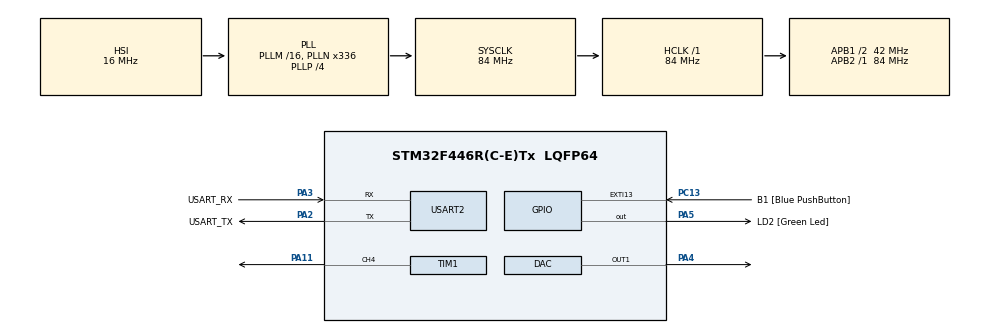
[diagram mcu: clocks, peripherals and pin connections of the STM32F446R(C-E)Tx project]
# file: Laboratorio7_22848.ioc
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DAC.DAC_Trigger=DAC_TRIGGER_T6_TRGO
Dma.DAC1.0.Direction=DMA_MEMORY_TO_PERIPH
Dma.DAC1.0.FIFOMode=DMA_FIFOMODE_DISABLE
Dma.DAC1.0.Instance=DMA1_Stream5
Dma.DAC1.0.MemDataAlignment=DMA_MDATAALIGN_HALFWORD
Dma.DAC1.0.MemInc=DMA_MINC_ENABLE
Dma.DAC1.0.Mode=DMA_CIRCULAR
Dma.DAC1.0.PeriphDataAlignment=DMA_PDATAALIGN_HALFWORD
Dma.DAC1.0.PeriphInc=DMA_PINC_DISABLE
Dma.DAC1.0.Priority=DMA_PRIORITY_LOW
Dma.Request0=DAC1
Mcu.Family=STM32F4
Mcu.Name=STM32F446R(C-E)Tx
Mcu.Package=LQFP64
NVIC.DMA1_Stream5_IRQn=true\:0\:0\:false\:false\:true\:false\:true\:true
NVIC.PriorityGroup=NVIC_PRIORITYGROUP_0
PA11.Signal=S_TIM1_CH4
PA13.GPIO_Label=TMS
PA13.Mode=Serial_Wire
PA13.Signal=SYS_JTMS-SWDIO
PA14.GPIO_Label=TCK
PA14.Mode=Serial_Wire
PA14.Signal=SYS_JTCK-SWCLK
PA2.GPIO_Label=USART_TX
PA2.Mode=Asynchronous
PA2.Signal=USART2_TX
PA3.GPIO_Label=USART_RX
PA3.Mode=Asynchronous
PA3.Signal=USART2_RX
PA4.Signal=COMP_DAC1_group
PA5.GPIO_Label=LD2 [Green Led]
PA5.Signal=GPIO_Output
PB3.GPIO_Label=SWO
PB3.Signal=SYS_JTDO-SWO
PC13.GPIO_Label=B1 [Blue PushButton]
PC13.GPIO_ModeDefaultEXTI=GPIO_MODE_IT_FALLING
PC13.Signal=GPXTI13
PC14-OSC32_IN.Mode=LSE-External-Oscillator
PC14-OSC32_IN.Signal=RCC_OSC32_IN
PC15-OSC32_OUT.Mode=LSE-External-Oscillator
PC15-OSC32_OUT.Signal=RCC_OSC32_OUT
PH0-OSC_IN.Mode=HSE-External-Oscillator
PH0-OSC_IN.Signal=RCC_OSC_IN
PH1-OSC_OUT.Mode=HSE-External-Oscillator
PH1-OSC_OUT.Signal=RCC_OSC_OUT
ProjectManager.HeapSize=0x200
ProjectManager.StackSize=0x400
ProjectManager.TargetToolchain=STM32CubeIDE
RCC.48MHZClocksFreq_Value=84000000
RCC.AHBFreq_Value=84000000
RCC.APB1CLKDivider=RCC_HCLK_DIV2
RCC.APB1Freq_Value=42000000
RCC.APB1TimFreq_Value=84000000
RCC.APB2Freq_Value=84000000
RCC.APB2TimFreq_Value=84000000
RCC.CortexFreq_Value=84000000
RCC.FLatency-AdvancedSettings=FLASH_LATENCY_2
RCC.HCLKFreq_Value=84000000
RCC.HSE_VALUE=8000000
RCC.HSI_VALUE=16000000
RCC.PLLN=336
RCC.PLLP=RCC_PLLP_DIV4
RCC.SYSCLKFreq_VALUE=84000000
RCC.SYSCLKSource=RCC_SYSCLKSOURCE_PLLCLK
RCC.USBFreq_Value=168000000
RCC.VCOOutputFreq_Value=336000000
SH.COMP_DAC1_group.0=DAC_OUT1,DAC_OUT1
SH.S_TIM1_CH4.0=TIM1_CH4,PWM Generation4 CH4
TIM1.Channel-PWM\ Generation4\ CH4=TIM_CHANNEL_4
TIM1.Period=100-1
TIM1.Pulse-PWM\ Generation4\ CH4=50
TIM6.Period=1000-1
TIM6.Prescaler=1
TIM6.TIM_MasterOutputTrigger=TIM_TRGO_UPDATE
USART2.VirtualMode=VM_ASYNC
VP_TIM1_VS_ClockSourceINT.Mode=Internal
VP_TIM6_VS_ClockSourceINT.Mode=Enable_Timer
board=NUCLEO-F446RE

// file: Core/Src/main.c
 /* USER CODE BEGIN Header */
/**
  ******************************************************************************
  * @file           : main.c
  * @brief          : Main program body
  ******************************************************************************
  * @attention
  *
  * Copyright (c) 2026 STMicroelectronics.
  * All rights reserved.
  *
  * This software is licensed under terms that can be found in the LICENSE file
  * in the root directory of this software component.
  * If no LICENSE file comes with this software, it is provided AS-IS.
  *
  ******************************************************************************
  */
/* USER CODE END Header */
#include "main.h"

/* USER CODE BEGIN Includes */
#include "pitches.h"
#include <stdio.h>
#include <string.h>
#include <math.h>
/* USER CODE END Includes */

/* USER CODE BEGIN PD */

#define SAMPLES 128
#define PI 3.1415926
#define TIM_FREQ 84000000

uint32_t Ysine[SAMPLES];
#define PWM_ARR 100

/* USER CODE END PD */

DAC_HandleTypeDef hdac;
DMA_HandleTypeDef hdma_dac1;

TIM_HandleTypeDef htim1;
TIM_HandleTypeDef htim6;

UART_HandleTypeDef huart2;

/* USER CODE BEGIN PV */
int notes[] = {
    // Compás 9
    NOTE_G4, REST, NOTE_G4, NOTE_A4, NOTE_AS4, NOTE_G4, NOTE_A4, NOTE_AS4,
    NOTE_C5, NOTE_AS4, NOTE_A4, NOTE_G4, NOTE_F4, REST,
    NOTE_G4, NOTE_F4, NOTE_E4, NOTE_F4, NOTE_D4, NOTE_F4, NOTE_G4, NOTE_A4, NOTE_AS4,

    // Compás 13
    NOTE_G4, NOTE_E4, REST, NOTE_E4, NOTE_G4, NOTE_A4, NOTE_E4,
    NOTE_G4, NOTE_A4, NOTE_AS4, NOTE_C5, NOTE_AS4, NOTE_A4,
    NOTE_G4, NOTE_F4, REST,
    NOTE_F4, NOTE_G4, NOTE_E4, NOTE_F4, NOTE_D4, NOTE_F4,
    REST,
    NOTE_F4, NOTE_G4, NOTE_A4, NOTE_AS4, NOTE_C5
};

int duration[] = {
    // Compás 9
    250,250,250,250,250,250,250,250,
    250,250,250,250,500,250,
    250,250,250,250,250,250,250,250,500,

    // Compás 13
    500,500,250,250,250,250,500,
    250,250,250,250,250,250,
    500,500,250,
    250,250,250,250,250,250,
    250,
    250,250,250,250,500
};
int notes2[] = {
    NOTE_C5, NOTE_E5, NOTE_G5, NOTE_C6,
    NOTE_G5, NOTE_E5, NOTE_C5, 0,

    NOTE_D5, NOTE_F5, NOTE_A5, NOTE_D6,
    NOTE_A5, NOTE_F5, NOTE_D5, 0,

    NOTE_E5, NOTE_G5, NOTE_B5, NOTE_E6,
    NOTE_B5, NOTE_G5, NOTE_E5, 0,

    NOTE_C6, NOTE_G5, NOTE_E5, NOTE_C5
};

int duration2[] = {
    150,150,150,300,
    150,150,300,150,

    150,150,150,300,
    150,150,300,150,

    150,150,150,300,
    150,150,300,150,

    200,200,200,400
};

/* USER CODE END PV */

void SystemClock_Config(void);
static void MX_GPIO_Init(void);
static void MX_DMA_Init(void);
static void MX_TIM1_Init(void);
static void MX_USART2_UART_Init(void);
static void MX_DAC_Init(void);
static void MX_TIM6_Init(void);
/* USER CODE BEGIN PFP */
int presForFrequency(int frequency);
void playTone(int *tone, int *duration, int *pause, int size);
void uart_print(char *msg);
char uart_read_char(void);
void show_menu(void);
void generarSin(void);
int calcularARR(int freq);
void playTones(int *tone, int *duration, int *pause, int Nsize);
/* USER CODE END PFP */

/* USER CODE BEGIN 0 */
void noTone(void) {
    __HAL_TIM_SET_COMPARE(&htim1, TIM_CHANNEL_4, 0); // silencio
}
int presForFrequency(int frequency) {
    if (frequency == 0)
        return 0;
    return ((TIM_FREQ / (PWM_ARR * frequency)) - 1);
}

void playTone(int *tone, int *duration, int *pause, int size) {
    for (int i = 0; i < size; i++) {

        int prescaler = presForFrequency(tone[i]);
        int dur = duration[i];
        int pauseBetweenTones = 0;

        if (pause != NULL)
            pauseBetweenTones = pause[i] - duration[i];

        __HAL_TIM_SET_PRESCALER(&htim1, prescaler);
        __HAL_TIM_SET_COMPARE(&htim1, TIM_CHANNEL_4, PWM_ARR / 2);
        HAL_Delay(dur);

        noTone();

        HAL_Delay(pauseBetweenTones);
    }
}

void uart_print(char *msg) {
    HAL_UART_Transmit(&huart2, (uint8_t*)msg, strlen(msg), HAL_MAX_DELAY);
}

char uart_read_char(void) {
    char c;
    HAL_UART_Receive(&huart2, (uint8_t*)&c, 1, HAL_MAX_DELAY);
    return c;
}

void show_menu(void) {
    uart_print("\r\nSeleccion de audio\r\n");
    uart_print("1. Cancion 1\r\n");
    uart_print("2. Cancion 2\r\n");
    uart_print("Seleccione opcion: ");
}
void generarSin(void) {
    for (int i = 0; i < SAMPLES; i++) {
    	Ysine[i] = (sin(2 * PI * i / SAMPLES) * 2047) + 2048;
    }
}

int calcularARR(int freq) {
    if (freq == 0) return 0;

    int Fs = freq * SAMPLES; // frecuencia de muestreo
    return (TIM_FREQ / ((htim6.Init.Prescaler + 1) * Fs)) - 1;
}
void startDAC(void) {
    HAL_DAC_Start_DMA(&hdac, DAC_CHANNEL_1, Ysine, SAMPLES, DAC_ALIGN_12B_R);
    HAL_TIM_Base_Start(&htim6);
}
void stopDAC(void) {
    HAL_DAC_Stop_DMA(&hdac, DAC_CHANNEL_1);
    HAL_TIM_Base_Stop(&htim6);
}

void playToneDAC(int *tone, int *duration, int *pause, int Nsize)
{
    for (int i = 0; i < Nsize; i++)
    {
        int freq = tone[i];
        int dur = duration[i];

        if (freq > 0) {
            int arr = calcularARR(freq);
            __HAL_TIM_SET_AUTORELOAD(&htim6, arr);
        } else {
            __HAL_TIM_SET_AUTORELOAD(&htim6, 10000); // silencio
        }

        HAL_Delay(dur);
    }
}

/* USER CODE END 0 */

int main(void)
{

  /* MCU Configuration--------------------------------------------------------*/

  /* Reset of all peripherals, Initializes the Flash interface and the Systick. */
  HAL_Init();

  /* Configure the system clock */
  SystemClock_Config();

  /* Initialize all configured peripherals */
  MX_GPIO_Init();
  MX_DMA_Init();
  MX_TIM1_Init();
  MX_USART2_UART_Init();
  MX_DAC_Init();
  MX_TIM6_Init();
  /* USER CODE BEGIN 2 */
  generarSin();
  startDAC();
  /* USER CODE END 2 */

  /* Infinite loop */
  /* USER CODE BEGIN WHILE */
  HAL_TIM_PWM_Start(&htim1, TIM_CHANNEL_4);

  while (1)
  {
	  show_menu();

	      char option = uart_read_char();

	      uart_print("\r\n");

	      switch(option) {
	          case '1':
	              uart_print("Reproduciendo Cancion 1...\r\n");
	              playTone(notes, duration, NULL, sizeof(notes)/sizeof(notes[0]));
	              noTone();
	              break;

	          case '2':
	              uart_print("Reproduciendo Cancion 2 (DAC)...\r\n");
	              playToneDAC(notes2, duration2, NULL, sizeof(notes2)/sizeof(notes2[0]));
	              stopDAC();
	              break;

	          default:
	              uart_print("Opcion invalida\r\n");
	              break;
	      }
    /* USER CODE END WHILE */

  }
}

void SystemClock_Config(void)
{
  RCC_OscInitTypeDef RCC_OscInitStruct = {0};
  RCC_ClkInitTypeDef RCC_ClkInitStruct = {0};

  /** Configure the main internal regulator output voltage
  */
  __HAL_RCC_PWR_CLK_ENABLE();
  __HAL_PWR_VOLTAGESCALING_CONFIG(PWR_REGULATOR_VOLTAGE_SCALE3);

  /** Initializes the RCC Oscillators according to the specified parameters
  * in the RCC_OscInitTypeDef structure.
  */
  RCC_OscInitStruct.OscillatorType = RCC_OSCILLATORTYPE_HSI;
  RCC_OscInitStruct.HSIState = RCC_HSI_ON;
  RCC_OscInitStruct.HSICalibrationValue = RCC_HSICALIBRATION_DEFAULT;
  RCC_OscInitStruct.PLL.PLLState = RCC_PLL_ON;
  RCC_OscInitStruct.PLL.PLLSource = RCC_PLLSOURCE_HSI;
  RCC_OscInitStruct.PLL.PLLM = 16;
  RCC_OscInitStruct.PLL.PLLN = 336;
  RCC_OscInitStruct.PLL.PLLP = RCC_PLLP_DIV4;
  RCC_OscInitStruct.PLL.PLLQ = 2;
  RCC_OscInitStruct.PLL.PLLR = 2;
  if (HAL_RCC_OscConfig(&RCC_OscInitStruct) != HAL_OK)
  {
    Error_Handler();
  }

  /** Initializes the CPU, AHB and APB buses clocks
  */
  RCC_ClkInitStruct.ClockType = RCC_CLOCKTYPE_HCLK|RCC_CLOCKTYPE_SYSCLK
                              |RCC_CLOCKTYPE_PCLK1|RCC_CLOCKTYPE_PCLK2;
  RCC_ClkInitStruct.SYSCLKSource = RCC_SYSCLKSOURCE_PLLCLK;
  RCC_ClkInitStruct.AHBCLKDivider = RCC_SYSCLK_DIV1;
  RCC_ClkInitStruct.APB1CLKDivider = RCC_HCLK_DIV2;
  RCC_ClkInitStruct.APB2CLKDivider = RCC_HCLK_DIV1;

  if (HAL_RCC_ClockConfig(&RCC_ClkInitStruct, FLASH_LATENCY_2) != HAL_OK)
  {
    Error_Handler();
  }
}

static void MX_DAC_Init(void)
{

  DAC_ChannelConfTypeDef sConfig = {0};

  /** DAC Initialization
  */
  hdac.Instance = DAC;
  if (HAL_DAC_Init(&hdac) != HAL_OK)
  {
    Error_Handler();
  }

  /** DAC channel OUT1 config
  */
  sConfig.DAC_Trigger = DAC_TRIGGER_T6_TRGO;
  sConfig.DAC_OutputBuffer = DAC_OUTPUTBUFFER_ENABLE;
  if (HAL_DAC_ConfigChannel(&hdac, &sConfig, DAC_CHANNEL_1) != HAL_OK)
  {
    Error_Handler();
  }

}

static void MX_TIM1_Init(void)
{

  TIM_ClockConfigTypeDef sClockSourceConfig = {0};
  TIM_MasterConfigTypeDef sMasterConfig = {0};
  TIM_OC_InitTypeDef sConfigOC = {0};
  TIM_BreakDeadTimeConfigTypeDef sBreakDeadTimeConfig = {0};

  htim1.Instance = TIM1;
  htim1.Init.Prescaler = 0;
  htim1.Init.CounterMode = TIM_COUNTERMODE_UP;
  htim1.Init.Period = 100-1;
  htim1.Init.ClockDivision = TIM_CLOCKDIVISION_DIV1;
  htim1.Init.RepetitionCounter = 0;
  htim1.Init.AutoReloadPreload = TIM_AUTORELOAD_PRELOAD_DISABLE;
  if (HAL_TIM_Base_Init(&htim1) != HAL_OK)
  {
    Error_Handler();
  }
  sClockSourceConfig.ClockSource = TIM_CLOCKSOURCE_INTERNAL;
  if (HAL_TIM_ConfigClockSource(&htim1, &sClockSourceConfig) != HAL_OK)
  {
    Error_Handler();
  }
  if (HAL_TIM_PWM_Init(&htim1) != HAL_OK)
  {
    Error_Handler();
  }
  sMasterConfig.MasterOutputTrigger = TIM_TRGO_RESET;
  sMasterConfig.MasterSlaveMode = TIM_MASTERSLAVEMODE_DISABLE;
  if (HAL_TIMEx_MasterConfigSynchronization(&htim1, &sMasterConfig) != HAL_OK)
  {
    Error_Handler();
  }
  sConfigOC.OCMode = TIM_OCMODE_PWM1;
  sConfigOC.Pulse = 50;
  sConfigOC.OCPolarity = TIM_OCPOLARITY_HIGH;
  sConfigOC.OCFastMode = TIM_OCFAST_DISABLE;
  sConfigOC.OCIdleState = TIM_OCIDLESTATE_RESET;
  sConfigOC.OCNIdleState = TIM_OCNIDLESTATE_RESET;
  if (HAL_TIM_PWM_ConfigChannel(&htim1, &sConfigOC, TIM_CHANNEL_4) != HAL_OK)
  {
    Error_Handler();
  }
  sBreakDeadTimeConfig.OffStateRunMode = TIM_OSSR_DISABLE;
  sBreakDeadTimeConfig.OffStateIDLEMode = TIM_OSSI_DISABLE;
  sBreakDeadTimeConfig.LockLevel = TIM_LOCKLEVEL_OFF;
  sBreakDeadTimeConfig.DeadTime = 0;
  sBreakDeadTimeConfig.BreakState = TIM_BREAK_DISABLE;
  sBreakDeadTimeConfig.BreakPolarity = TIM_BREAKPOLARITY_HIGH;
  sBreakDeadTimeConfig.AutomaticOutput = TIM_AUTOMATICOUTPUT_DISABLE;
  if (HAL_TIMEx_ConfigBreakDeadTime(&htim1, &sBreakDeadTimeConfig) != HAL_OK)
  {
    Error_Handler();
  }
  HAL_TIM_MspPostInit(&htim1);

}

static void MX_TIM6_Init(void)
{

  TIM_MasterConfigTypeDef sMasterConfig = {0};

  htim6.Instance = TIM6;
  htim6.Init.Prescaler = 1;
  htim6.Init.CounterMode = TIM_COUNTERMODE_UP;
  htim6.Init.Period = 1000-1;
  htim6.Init.AutoReloadPreload = TIM_AUTORELOAD_PRELOAD_DISABLE;
  if (HAL_TIM_Base_Init(&htim6) != HAL_OK)
  {
    Error_Handler();
  }
  sMasterConfig.MasterOutputTrigger = TIM_TRGO_UPDATE;
  sMasterConfig.MasterSlaveMode = TIM_MASTERSLAVEMODE_DISABLE;
  if (HAL_TIMEx_MasterConfigSynchronization(&htim6, &sMasterConfig) != HAL_OK)
  {
    Error_Handler();
  }

}

static void MX_USART2_UART_Init(void)
{

  huart2.Instance = USART2;
  huart2.Init.BaudRate = 115200;
  huart2.Init.WordLength = UART_WORDLENGTH_8B;
  huart2.Init.StopBits = UART_STOPBITS_1;
  huart2.Init.Parity = UART_PARITY_NONE;
  huart2.Init.Mode = UART_MODE_TX_RX;
  huart2.Init.HwFlowCtl = UART_HWCONTROL_NONE;
  huart2.Init.OverSampling = UART_OVERSAMPLING_16;
  if (HAL_UART_Init(&huart2) != HAL_OK)
  {
    Error_Handler();
  }

}

static void MX_DMA_Init(void)
{

  /* DMA controller clock enable */
  __HAL_RCC_DMA1_CLK_ENABLE();

  /* DMA interrupt init */
  /* DMA1_Stream5_IRQn interrupt configuration */
  HAL_NVIC_SetPriority(DMA1_Stream5_IRQn, 0, 0);
  HAL_NVIC_EnableIRQ(DMA1_Stream5_IRQn);

}

static void MX_GPIO_Init(void)
{
  GPIO_InitTypeDef GPIO_InitStruct = {0};

  /* GPIO Ports Clock Enable */
  __HAL_RCC_GPIOC_CLK_ENABLE();
  __HAL_RCC_GPIOH_CLK_ENABLE();
  __HAL_RCC_GPIOA_CLK_ENABLE();
  __HAL_RCC_GPIOB_CLK_ENABLE();

  /*Configure GPIO pin Output Level */
  HAL_GPIO_WritePin(LD2_GPIO_Port, LD2_Pin, GPIO_PIN_RESET);

  /*Configure GPIO pin : B1_Pin */
  GPIO_InitStruct.Pin = B1_Pin;
  GPIO_InitStruct.Mode = GPIO_MODE_IT_FALLING;
  GPIO_InitStruct.Pull = GPIO_NOPULL;
  HAL_GPIO_Init(B1_GPIO_Port, &GPIO_InitStruct);

  /*Configure GPIO pin : LD2_Pin */
  GPIO_InitStruct.Pin = LD2_Pin;
  GPIO_InitStruct.Mode = GPIO_MODE_OUTPUT_PP;
  GPIO_InitStruct.Pull = GPIO_NOPULL;
  GPIO_InitStruct.Speed = GPIO_SPEED_FREQ_LOW;
  HAL_GPIO_Init(LD2_GPIO_Port, &GPIO_InitStruct);

}

void Error_Handler(void)
{
  __disable_irq();
  while (1)
  {
  }
}
